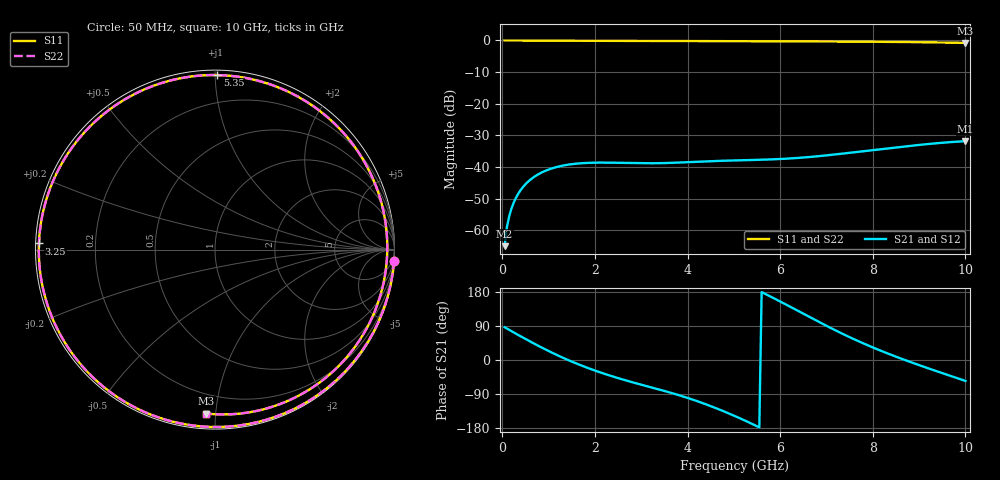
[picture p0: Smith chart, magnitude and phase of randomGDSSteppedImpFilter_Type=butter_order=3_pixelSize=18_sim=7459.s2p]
! freq	dB(S11)	phase(S11)	dB(S12)	phase(S12)
!  dB(S21)	phase(S21)	dB(S22)	phase(S22)
!S-par simulation data
#  GHz  S  DB  R 50
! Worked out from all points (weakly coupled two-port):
!   200 points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, 50 MHz to 10 GHz, reference 50 ohm
!   highest |S21| = -31.82 dB at 10 GHz (marker M1); lowest = -65.0 dB at 50 MHz (marker M2)
!   lowest |S11| = -0.8 dB at 10 GHz (marker M3), VSWR 22.45, Z = 4.22 - j47.2 ohm
!   |S11| at or under -10 dB: nowhere
!   |S22| runs from -0.8 to 0.0 dB; largest |S21 - S12| = 0
!   S11 on the Smith chart (normalised r, x): 50 MHz: 0, -32; 3.25 GHz: 0.01, +0.02; 5.35 GHz: 0.03, +1.01; 10 GHz: 0.08, -0.94
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0.05  -0.00 -3.5  -64.99 86.5  -64.99 86.5  -0.00 -3.5
0.1  -0.01 -7.0  -58.98 82.9  -58.98 82.9  -0.01 -7.0
0.2  -0.02 -14.0  -53.01 75.9  -53.01 75.9  -0.02 -14.0
0.35  -0.04 -24.4  -48.29 65.6  -48.29 65.6  -0.04 -24.4
0.5  -0.05 -34.6  -45.43 55.6  -45.43 55.6  -0.05 -34.6
0.8  -0.07 -54.5  -42.10 36.0  -42.10 36.0  -0.07 -54.4
1.1  -0.09 -73.4  -40.28 17.7  -40.28 17.7  -0.09 -73.4
1.4  -0.10 -91.2  -39.29 1.0  -39.29 1.0  -0.10 -91.2
1.75  -0.12 -110.7  -38.75 -16.5  -38.75 -16.5  -0.12 -110.7
2.5  -0.14 -148.3  -38.65 -47.8  -38.65 -47.8  -0.14 -148.3
3.25  -0.16 178.0  -38.80 -73.3  -38.80 -73.3  -0.16 178.0
3.4  -0.17 171.5  -38.77 -78.3  -38.77 -78.3  -0.17 171.5
4.15  -0.19 139.8  -38.35 -106.1  -38.35 -106.1  -0.19 139.8
4.6  -0.21 120.9  -38.08 -126.4  -38.08 -126.4  -0.21 120.9
5.05  -0.23 102.0  -37.89 -149.4  -37.89 -149.4  -0.23 102.0
5.35  -0.24 89.3  -37.79 -166.1  -37.79 -166.1  -0.24 89.3
6  -0.27 61.5  -37.45 154.4  -37.45 154.4  -0.27 61.5
6.7  -0.30 31.8  -36.74 109.2  -36.74 109.2  -0.30 31.8
7.5  -0.36 -1.1  -35.50 60.2  -35.50 60.2  -0.36 -1.1
8.35  -0.45 -34.2  -34.04 15.9  -34.04 15.9  -0.45 -34.2
9.2  -0.58 -65.1  -32.71 -22.1  -32.71 -22.1  -0.58 -65.1
10  -0.77 -93.0  -31.82 -55.1  -31.82 -55.1  -0.77 -93.1
